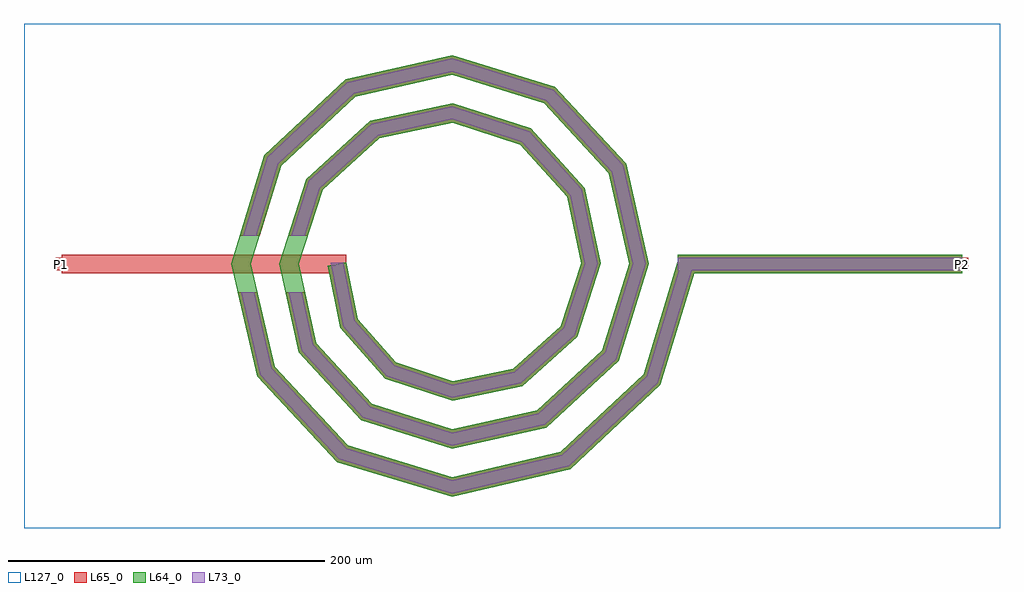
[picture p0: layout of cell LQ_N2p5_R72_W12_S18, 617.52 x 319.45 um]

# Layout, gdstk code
import gdstk
lib = gdstk.Library(unit=1e-6, precision=1e-09)
def R(c, l, rs):  # rectangles x0, y0, x1, y1
    for r in rs: c.add(gdstk.rectangle(r[:2], r[2:], *l))
def P(c, l, *ps):  # polygons
    for p in ps: c.add(gdstk.Polygon(p, *l))
L64_0 = (64, 0)
L65_0 = (65, 0)
L73_0 = (73, 0)
L127_0 = (127, 0)

lq_n2p5_r72_w12_s18 = lib.new_cell('LQ_N2p5_R72_W12_S18')
R(lq_n2p5_r72_w12_s18, L64_0, [(142.69,-6,322.69,6)])
P(lq_n2p5_r72_w12_s18, L64_0, [(-59.696,-34.914),(-35.516,-62.267),(0.364,-74.211),(38.675,-66.282),(68.819,-39.337),(81.796,0.333),(72.865,42.442),(43.154,75.374),(0.306,89.381),(-46.213,79.447),(-81.931,46.967),(-96.966,0.284),(-86.026,-49.987),(-50.777,-88.49),(0.264,-104.552),(53.764,-92.605),(95.051,-54.585),(112.137,0.248),(99.183,57.543),(58.392,101.612),(0.233,119.723),(-61.323,105.759),(-108.175,62.196),(-127.309,0.219),(-112.335,-65.105),(-66,-114.738),(0.208,-134.895),(68.888,-118.91),(121.302,-69.802),(142.947,1.738),(154.433,-1.738),(131.856,-76.359),(74.744,-129.868),(0.208,-147.312),(-72.575,-125.28),(-123.304,-70.941),(-139.726,0.219),(-118.704,68.792),(-67.136,116.74),(0.233,132.139),(65.011,112.127),(110.177,63.331),(124.552,0.248),(105.549,-61.231),(59.523,-103.615),(0.264,-116.966),(-57.453,-98.97),(-97.053,-55.714),(-109.379,0.284),(-92.389,53.677),(-51.902,90.493),(0.306,101.791),(49.904,85.806),(83.935,48.086),(94.204,0.333),(79.221,-46.134),(44.267,-77.379),(0.364,-86.616),(-42.369,-72.634),(-70.825,-40.442),(-78.71,-1.181),(-66.945,1.181)])
R(lq_n2p5_r72_w12_s18, L65_0, [(-246.828,-6,-66.828,6), (142.69,-6,322.69,6), (-250.828,-4,-242.828,4), (318.69,-4,326.69,4)])
P(lq_n2p5_r72_w12_s18, L65_0, [(-112.335,-65.105),(-66,-114.738),(0.208,-134.895),(68.888,-118.91),(121.302,-69.803),(142.947,1.738),(154.433,-1.738),(131.856,-76.359),(74.744,-129.868),(0.208,-147.312),(-72.575,-125.28),(-123.304,-70.941),(-135.521,-18),(-123.206,-18)],
  [(-86.027,-49.987),(-50.777,-88.49),(0.265,-104.552),(53.764,-92.605),(95.051,-54.585),(112.138,0.248),(99.183,57.543),(58.392,101.612),(0.233,119.723),(-61.323,105.759),(-108.175,62.197),(-121.724,18),(-134.275,18),(-118.704,68.792),(-67.137,116.74),(0.233,132.139),(65.011,112.127),(110.177,63.331),(124.552,0.248),(105.549,-61.231),(59.523,-103.615),(0.265,-116.966),(-57.453,-98.97),(-97.053,-55.714),(-105.354,-18),(-93.067,-18)],
  [(-35.516,-62.267),(0.364,-74.211),(38.676,-66.282),(68.819,-39.337),(81.796,0.333),(72.865,42.442),(43.154,75.374),(0.306,89.381),(-46.213,79.447),(-81.931,46.967),(-91.149,18),(-103.741,18),(-92.389,53.677),(-51.902,90.494),(0.306,101.792),(49.904,85.806),(83.935,48.087),(94.204,0.333),(79.222,-46.134),(44.267,-77.379),(0.364,-86.616),(-42.369,-72.634),(-70.825,-40.442),(-78.71,-1.181),(-66.945,1.181),(-59.696,-34.914)])
R(lq_n2p5_r72_w12_s18, L73_0, [(142.69,-4,322.69,4)])
P(lq_n2p5_r72_w12_s18, L73_0, [(-114.163,-66.078),(-67.096,-116.495),(0.138,-136.964),(69.864,-120.737),(123.061,-70.895),(144.861,1.158),(152.518,-1.158),(130.097,-75.266),(73.768,-128.042),(0.138,-145.243),(-71.479,-123.523),(-121.476,-69.968),(-133.469,-18),(-125.258,-18)],
  [(-87.864,-50.942),(-51.89,-90.237),(0.176,-106.621),(54.724,-94.44),(96.8,-55.693),(114.207,0.165),(101.015,58.508),(59.495,103.365),(0.155,121.793),(-62.292,107.589),(-109.93,63.296),(-123.816,18),(-132.183,18),(-116.949,67.693),(-66.168,114.91),(0.155,130.07),(63.908,110.375),(108.344,62.366),(122.483,0.165),(103.799,-60.123),(58.564,-101.78),(0.176,-114.897),(-56.34,-97.223),(-95.216,-54.759),(-103.306,-18),(-95.115,-18)],
  [(-36.658,-63.995),(0.243,-76.279),(39.607,-68.131),(70.553,-40.47),(83.864,0.222),(74.71,43.383),(44.279,77.113),(0.204,91.45),(-47.161,81.288),(-83.674,48.085),(-93.247,18),(-101.643,18),(-90.646,52.559),(-50.954,88.652),(0.204,99.723),(48.779,84.068),(82.09,47.146),(92.136,0.222),(77.488,-45.001),(43.335,-75.529),(0.243,-84.549),(-41.227,-70.906),(-68.97,-39.521),(-76.749,0.788),(-68.906,0.788),(-61.551,-35.835)])
R(lq_n2p5_r72_w12_s18, L127_0, [(-270.828,-167.312,346.69,152.139)])
lq_n2p5_r72_w12_s18.add(gdstk.Label('P2', (322.69,0), layer=65, texttype=0))
lq_n2p5_r72_w12_s18.add(gdstk.Label('P1', (-246.828,0), layer=65, texttype=0))
lq_n2p5_r72_w12_s18.add(gdstk.Label('P2', (326.69,0), layer=145, texttype=0))
lq_n2p5_r72_w12_s18.add(gdstk.Label('P1', (-250.828,0), layer=145, texttype=0))

lib.write_gds('LQ_N2p5_R72_W12_S18.gds')
